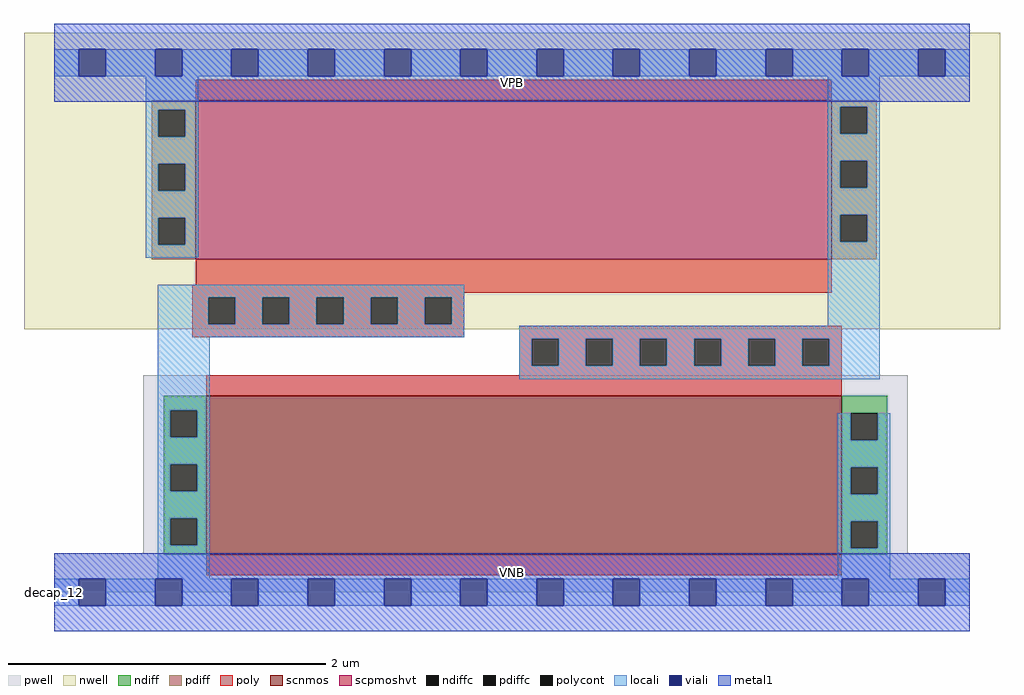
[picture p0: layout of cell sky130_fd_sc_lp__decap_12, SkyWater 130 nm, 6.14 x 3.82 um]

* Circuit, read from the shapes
.subckt sky130_fd_sc_lp__decap_12 VGND VNB VPB VPWR
XM1 VGND VPWR VGND VNB sky130_fd_pr__nfet_01v8 w=1 l=4
XM2 VPWR VGND VPWR VPB sky130_fd_pr__pfet_01v8_hvt w=1 l=4
.ends

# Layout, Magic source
magic
tech sky130A
magscale 1 2
<< nwell >>
rect -38 331 1190 704
<< pwell >>
rect 112 49 1074 273
rect 0 0 1152 49
<< scnmos >>
rect 191 47 991 247
<< scpmoshvt >>
rect 178 419 978 619
<< ndiff >>
rect 138 229 191 247
rect 138 195 146 229
rect 180 195 191 229
rect 138 161 191 195
rect 138 127 146 161
rect 180 127 191 161
rect 138 93 191 127
rect 138 59 146 93
rect 180 59 191 93
rect 138 47 191 59
rect 991 225 1048 247
rect 991 191 1002 225
rect 1036 191 1048 225
rect 991 157 1048 191
rect 991 123 1002 157
rect 1036 123 1048 157
rect 991 89 1048 123
rect 991 55 1002 89
rect 1036 55 1048 89
rect 991 47 1048 55
<< pdiff >>
rect 123 607 178 619
rect 123 573 131 607
rect 165 573 178 607
rect 123 539 178 573
rect 123 505 131 539
rect 165 505 178 539
rect 123 471 178 505
rect 123 437 131 471
rect 165 437 178 471
rect 123 419 178 437
rect 978 611 1035 619
rect 978 577 989 611
rect 1023 577 1035 611
rect 978 543 1035 577
rect 978 509 989 543
rect 1023 509 1035 543
rect 978 475 1035 509
rect 978 441 989 475
rect 1023 441 1035 475
rect 978 419 1035 441
<< ndiffc >>
rect 146 195 180 229
rect 146 127 180 161
rect 146 59 180 93
rect 1002 191 1036 225
rect 1002 123 1036 157
rect 1002 55 1036 89
<< pdiffc >>
rect 131 573 165 607
rect 131 505 165 539
rect 131 437 165 471
rect 989 577 1023 611
rect 989 509 1023 543
rect 989 441 1023 475
<< poly >>
rect 178 619 978 645
rect 178 387 978 419
rect 174 377 978 387
rect 174 371 516 377
rect 174 337 194 371
rect 228 337 262 371
rect 296 337 330 371
rect 364 337 398 371
rect 432 337 466 371
rect 500 337 516 371
rect 174 321 516 337
rect 585 319 991 335
rect 585 285 601 319
rect 635 285 669 319
rect 703 285 737 319
rect 771 285 805 319
rect 839 285 873 319
rect 907 285 941 319
rect 975 285 991 319
rect 585 273 991 285
rect 191 247 991 273
rect 191 21 991 47
<< polycont >>
rect 194 337 228 371
rect 262 337 296 371
rect 330 337 364 371
rect 398 337 432 371
rect 466 337 500 371
rect 601 285 635 319
rect 669 285 703 319
rect 737 285 771 319
rect 805 285 839 319
rect 873 285 907 319
rect 941 285 975 319
<< locali >>
rect 0 649 31 683
rect 65 649 127 683
rect 161 649 223 683
rect 257 649 319 683
rect 353 649 415 683
rect 449 649 511 683
rect 545 649 607 683
rect 641 649 703 683
rect 737 649 799 683
rect 833 649 895 683
rect 929 649 991 683
rect 1025 649 1087 683
rect 1121 649 1152 683
rect 115 607 181 649
rect 115 573 131 607
rect 165 573 181 607
rect 115 539 181 573
rect 115 505 131 539
rect 165 505 181 539
rect 115 471 181 505
rect 115 437 131 471
rect 165 437 181 471
rect 115 421 181 437
rect 973 611 1039 649
rect 973 577 989 611
rect 1023 577 1039 611
rect 973 543 1039 577
rect 973 509 989 543
rect 1023 509 1039 543
rect 973 475 1039 509
rect 973 441 989 475
rect 1023 441 1039 475
rect 130 371 516 387
rect 130 337 194 371
rect 228 337 262 371
rect 296 337 330 371
rect 364 337 398 371
rect 432 337 466 371
rect 500 337 516 371
rect 130 321 516 337
rect 973 335 1039 441
rect 130 229 196 321
rect 585 319 1039 335
rect 585 285 601 319
rect 635 285 669 319
rect 703 285 737 319
rect 771 285 805 319
rect 839 285 873 319
rect 907 285 941 319
rect 975 285 1039 319
rect 585 268 1039 285
rect 130 195 146 229
rect 180 195 196 229
rect 130 161 196 195
rect 130 127 146 161
rect 180 127 196 161
rect 130 93 196 127
rect 130 59 146 93
rect 180 59 196 93
rect 130 17 196 59
rect 986 191 1002 225
rect 1036 191 1052 225
rect 986 157 1052 191
rect 986 123 1002 157
rect 1036 123 1052 157
rect 986 89 1052 123
rect 986 55 1002 89
rect 1036 55 1052 89
rect 986 17 1052 55
rect 0 -17 31 17
rect 65 -17 127 17
rect 161 -17 223 17
rect 257 -17 319 17
rect 353 -17 415 17
rect 449 -17 511 17
rect 545 -17 607 17
rect 641 -17 703 17
rect 737 -17 799 17
rect 833 -17 895 17
rect 929 -17 991 17
rect 1025 -17 1087 17
rect 1121 -17 1152 17
<< viali >>
rect 31 649 65 683
rect 127 649 161 683
rect 223 649 257 683
rect 319 649 353 683
rect 415 649 449 683
rect 511 649 545 683
rect 607 649 641 683
rect 703 649 737 683
rect 799 649 833 683
rect 895 649 929 683
rect 991 649 1025 683
rect 1087 649 1121 683
rect 31 -17 65 17
rect 127 -17 161 17
rect 223 -17 257 17
rect 319 -17 353 17
rect 415 -17 449 17
rect 511 -17 545 17
rect 607 -17 641 17
rect 703 -17 737 17
rect 799 -17 833 17
rect 895 -17 929 17
rect 991 -17 1025 17
rect 1087 -17 1121 17
<< metal1 >>
rect 0 683 1152 715
rect 0 649 31 683
rect 65 649 127 683
rect 161 649 223 683
rect 257 649 319 683
rect 353 649 415 683
rect 449 649 511 683
rect 545 649 607 683
rect 641 649 703 683
rect 737 649 799 683
rect 833 649 895 683
rect 929 649 991 683
rect 1025 649 1087 683
rect 1121 649 1152 683
rect 0 617 1152 649
rect 0 17 1152 49
rect 0 -17 31 17
rect 65 -17 127 17
rect 161 -17 223 17
rect 257 -17 319 17
rect 353 -17 415 17
rect 449 -17 511 17
rect 545 -17 607 17
rect 641 -17 703 17
rect 737 -17 799 17
rect 833 -17 895 17
rect 929 -17 991 17
rect 1025 -17 1087 17
rect 1121 -17 1152 17
rect 0 -49 1152 -17
<< labels >>
flabel pwell s 0 0 1152 49 0 FreeSans 200 0 0 0 VNB
port 2 nsew ground bidirectional
flabel nwell s 0 617 1152 666 0 FreeSans 200 0 0 0 VPB
port 3 nsew power bidirectional
rlabel comment s 0 0 0 0 4 decap_12
flabel metal1 s 0 0 1152 49 0 FreeSans 340 0 0 0 VGND
port 1 nsew ground bidirectional
flabel metal1 s 0 617 1152 666 0 FreeSans 340 0 0 0 VPWR
port 4 nsew power bidirectional
<< properties >>
string LEFsite unit
string LEFclass CORE SPACER
string FIXED_BBOX 0 0 1152 666
string GDS_FILE $PDKPATH/libs.ref/sky130_fd_sc_lp/gds/sky130_fd_sc_lp.gds
string LEFsymmetry X Y R90
string GDS_END 5961430
string GDS_START 5956568
<< end >>
